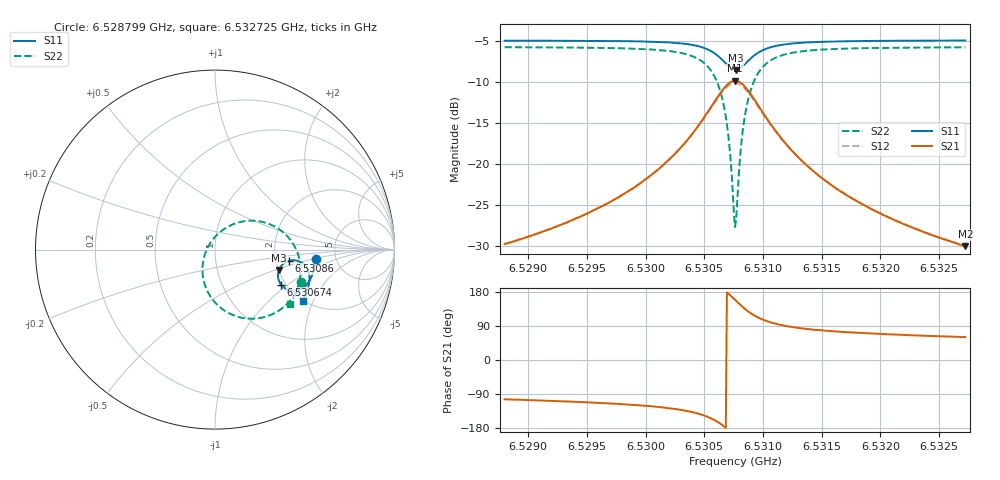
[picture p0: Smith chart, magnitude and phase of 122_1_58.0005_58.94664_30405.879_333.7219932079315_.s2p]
#  HZ  S  RI  R  50.00
! Rohde & Schwarz Vector Network Analyzer
! Rohde-Schwarz,ZNB20-2Port,1311601062101988,3.16
! Created: UTC 3/21/2024, 12:55:45 AM
! freq[Hz]  re:S11  im:S11  re:S21  im:S21  re:S12  im:S12  re:S22  im:S22
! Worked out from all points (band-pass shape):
!   401 points, 6.528799 GHz to 6.532725 GHz, reference 50 ohm
!   highest |S21| = -9.86 dB at 6.530762 GHz (marker M1); lowest = -30.0 dB at 6.532725 GHz (marker M2)
!   |S21| within 3 dB of the highest: 6.530566 GHz to 6.530959 GHz (392.7 kHz wide, 0.00601 % of centre)
!   lowest |S11| = -8.5 dB at 6.530772 GHz (marker M3), VSWR 2.19, Z = 101 - j26.4 ohm
!   |S11| at or under -10 dB: nowhere
!   |S22| runs from -27.6 to -5.8 dB; largest |S21 - S12| = 0.013
!   S11 on the Smith chart (normalised r, x): 6.528799 GHz: 3.48, -0.55; 6.530674 GHz: 1.89, -0.89; 6.53086 GHz: 2.35, -0.36; 6.532725 GHz: 1.98, -1.66
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6.5287991e9  0.5606 -0.0538  -0.00772 -0.0317  -0.00837 -0.0316  0.4802 -0.1829
6.5294566e9  0.5512 -0.1096  -0.0174 -0.0451  -0.0186 -0.0449  0.4482 -0.2451
6.5297903e9  0.5417 -0.1415  -0.0285 -0.0576  -0.03 -0.057  0.4184 -0.2851
6.5301142e9  0.524 -0.1778  -0.0524 -0.0777  -0.0548 -0.0763  0.3634 -0.3346
6.5303399e9  0.4968 -0.2083  -0.0938 -0.0983  -0.097 -0.0951  0.2793 -0.3746
6.5305068e9  0.4517 -0.2283  -0.1651 -0.1058  -0.1676 -0.0987  0.148 -0.3795
6.5306049e9  0.4048 -0.2231  -0.238 -0.0786  -0.2372 -0.0681  0.0259 -0.3196
6.5306736e9  0.3679 -0.1948  -0.2921 -0.0177  -0.2859 -0.00696  -0.053 -0.2067
6.530703e9  0.3563 -0.1737  -0.3067 0.0225  -0.2977 0.0321  -0.0688 -0.1372
6.5307521e9  0.352 -0.1305  -0.3047 0.1008  -0.2928 0.1058  -0.0501 -0.00925
6.5307619e9  0.3539 -0.1215  -0.2997 0.1163  -0.2876 0.1203  -0.0387 0.015
6.5307718e9  0.3566 -0.1128  -0.2931 0.1313  -0.281 0.1342  -0.025 0.0383
6.5307816e9  0.3605 -0.1046  -0.285 0.1455  -0.2732 0.1473  -0.00913 0.0599
6.5308208e9  0.3825 -0.0778  -0.2421 0.1913  -0.232 0.1896  0.0699 0.1265
6.5308601e9  0.4106 -0.0629  -0.1911 0.2159  -0.1837 0.2125  0.1581 0.1574
6.5309288e9  0.4558 -0.0614  -0.1124 0.2188  -0.1085 0.2154  0.2907 0.1468
6.5310269e9  0.4958 -0.0832  -0.044 0.1869  -0.0423 0.185  0.4007 0.0767
6.5311741e9  0.5197 -0.1196  -0.00259 0.1385  -0.00139 0.1378  0.4612 -0.0219
6.5314195e9  0.5266 -0.1635  0.0153 0.0906  0.0164 0.0904  0.4769 -0.1226
6.5317139e9  0.5218 -0.1999  0.0185 0.062  0.0195 0.0618  0.4673 -0.1894
6.5320771e9  0.5111 -0.2344  0.0179 0.0438  0.0187 0.0434  0.4494 -0.2408
6.5327248e9  0.4878 -0.2849  0.0157 0.0276  0.0163 0.0273  0.4159 -0.3007
